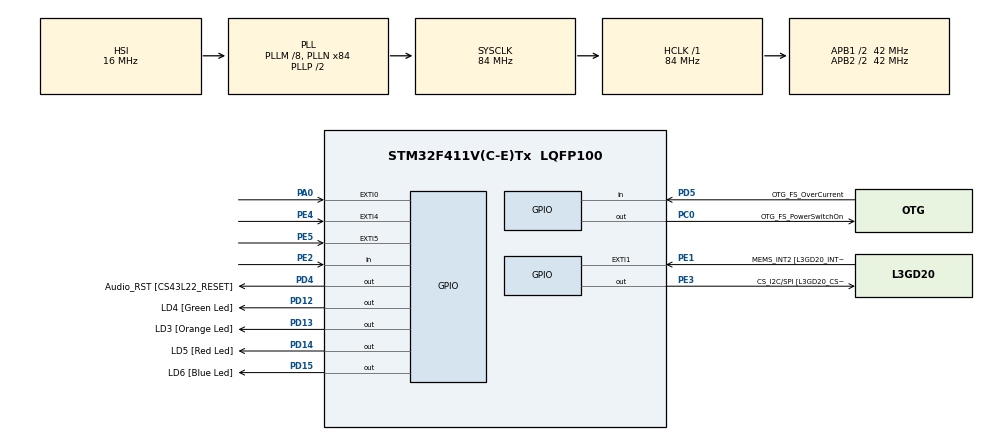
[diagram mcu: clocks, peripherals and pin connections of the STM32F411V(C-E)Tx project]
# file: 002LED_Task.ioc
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Mcu.Family=STM32F4
Mcu.Name=STM32F411V(C-E)Tx
Mcu.Package=LQFP100
NVIC.PriorityGroup=NVIC_PRIORITYGROUP_4
NVIC.TIM1_UP_TIM10_IRQn=true\:0\:0\:false\:false\:true\:false\:true\:true
NVIC.TimeBase=TIM1_UP_TIM10_IRQn
NVIC.TimeBaseIP=TIM1
PA0-WKUP.GPIO_ModeDefaultEXTI=GPIO_MODE_EVT_RISING
PA0-WKUP.Signal=GPXTI0
PA10.GPIO_Label=OTG_FS_ID
PA10.Signal=USB_OTG_FS_ID
PA11.GPIO_Label=OTG_FS_DM
PA11.Signal=USB_OTG_FS_DM
PA12.GPIO_Label=OTG_FS_DP
PA12.Signal=USB_OTG_FS_DP
PA13.GPIO_Label=SWDIO
PA13.Signal=SYS_JTMS-SWDIO
PA14.GPIO_Label=SWCLK
PA14.Signal=SYS_JTCK-SWCLK
PA4.GPIO_Label=I2S3_WS [CS43L22_LRCK]
PA4.GPIO_Mode=GPIO_MODE_AF_PP
PA4.GPIO_PuPd=GPIO_NOPULL
PA4.GPIO_Speed=GPIO_SPEED_FREQ_LOW
PA4.Signal=I2S3_WS
PA5.GPIO_Label=SPI1_SCK [L3GD20_SC/SPC]
PA5.Signal=SPI1_SCK
PA6.GPIO_Label=SPI1_MISO [L3GD20_AS0/SDO]
PA6.Signal=SPI1_MISO
PA7.GPIO_Label=SPI1_MOSI [L3GD20_SDA/SDI/SDO]
PA7.Signal=SPI1_MOSI
PA9.GPIO_Label=VBUS_FS
PA9.Signal=USB_OTG_FS_VBUS
PB10.GPIO_Label=CLK_IN [MP45DT02_CLK]
PB10.Signal=I2S2_CK
PB12.Signal=I2S2_WS
PB3.GPIO_Label=SWO
PB3.Signal=SYS_JTDO-SWO
PB6.GPIO_Label=Audio_SCL [CS43L22_SCL]
PB6.GPIO_Mode=GPIO_MODE_AF_OD
PB6.GPIO_PuPd=GPIO_NOPULL
PB6.GPIO_Speed=GPIO_SPEED_FREQ_LOW
PB6.Signal=I2C1_SCL
PB9.GPIO_Label=Audio_SDA [CS43L22_SDA]
PB9.GPIO_Mode=GPIO_MODE_AF_OD
PB9.GPIO_PuPd=GPIO_NOPULL
PB9.GPIO_Speed=GPIO_SPEED_FREQ_LOW
PB9.Signal=I2C1_SDA
PC0.GPIO_Label=OTG_FS_PowerSwitchOn
PC0.PinState=GPIO_PIN_SET
PC0.Signal=GPIO_Output
PC10.GPIO_Label=I2S3_SCK [CS43L22_SCLK]
PC10.GPIO_Mode=GPIO_MODE_AF_PP
PC10.GPIO_PuPd=GPIO_NOPULL
PC10.GPIO_Speed=GPIO_SPEED_FREQ_LOW
PC10.Signal=I2S3_CK
PC12.GPIO_Label=I2S3_SD [CS43L22_SDIN]
PC12.GPIO_Mode=GPIO_MODE_AF_PP
PC12.GPIO_PuPd=GPIO_NOPULL
PC12.GPIO_Speed=GPIO_SPEED_FREQ_LOW
PC12.Signal=I2S3_SD
PC14-OSC32_IN.GPIO_Label=PC14-OSC32_IN
PC14-OSC32_IN.Signal=RCC_OSC32_IN
PC15-OSC32_OUT.GPIO_Label=PC15-OSC32_OUT
PC15-OSC32_OUT.Signal=RCC_OSC32_OUT
PC3.GPIO_Label=PDM_OUT [MP45DT02_DOUT]
PC3.Signal=I2S2_SD
PC7.GPIO_Label=I2S3_MCK [CS43L22_MCLK]
PC7.GPIO_Mode=GPIO_MODE_AF_PP
PC7.GPIO_PuPd=GPIO_NOPULL
PC7.GPIO_Speed=GPIO_SPEED_FREQ_LOW
PC7.Signal=I2S3_MCK
PD12.GPIO_Label=LD4 [Green Led]
PD12.GPIO_PuPd=GPIO_NOPULL
PD12.GPIO_Speed=GPIO_SPEED_FREQ_LOW
PD12.Signal=GPIO_Output
PD13.GPIO_Label=LD3 [Orange Led]
PD13.GPIO_PuPd=GPIO_NOPULL
PD13.GPIO_Speed=GPIO_SPEED_FREQ_LOW
PD13.Signal=GPIO_Output
PD14.GPIO_Label=LD5 [Red Led]
PD14.GPIO_PuPd=GPIO_NOPULL
PD14.GPIO_Speed=GPIO_SPEED_FREQ_LOW
PD14.Signal=GPIO_Output
PD15.GPIO_Label=LD6 [Blue Led]
PD15.GPIO_PuPd=GPIO_NOPULL
PD15.GPIO_Speed=GPIO_SPEED_FREQ_LOW
PD15.Signal=GPIO_Output
PD4.GPIO_Label=Audio_RST [CS43L22_RESET]
PD4.Signal=GPIO_Output
PD5.GPIO_Label=OTG_FS_OverCurrent
PD5.Signal=GPIO_Input
PE1.GPIO_Label=MEMS_INT2 [L3GD20_INT2]
PE1.GPIO_ModeDefaultEXTI=GPIO_MODE_EVT_RISING
PE1.Signal=GPXTI1
PE2.Signal=GPIO_Input
PE3.GPIO_Label=CS_I2C/SPI [L3GD20_CS_I2C/SPI]
PE3.Signal=GPIO_Output
PE4.GPIO_ModeDefaultEXTI=GPIO_MODE_EVT_RISING
PE4.Signal=GPXTI4
PE5.GPIO_ModeDefaultEXTI=GPIO_MODE_EVT_RISING
PE5.Signal=GPXTI5
PH0\ -\ OSC_IN.GPIO_Label=PH0-OSC_IN
PH0\ -\ OSC_IN.Signal=RCC_OSC_IN
PH1\ -\ OSC_OUT.GPIO_Label=PH1-OSC_OUT
PH1\ -\ OSC_OUT.Signal=RCC_OSC_OUT
ProjectManager.HeapSize=0x200
ProjectManager.StackSize=0x400
ProjectManager.TargetToolchain=STM32CubeIDE
RCC.48MHZClocksFreq_Value=21000000
RCC.AHBFreq_Value=84000000
RCC.APB1CLKDivider=RCC_HCLK_DIV2
RCC.APB1Freq_Value=42000000
RCC.APB1TimFreq_Value=84000000
RCC.APB2CLKDivider=RCC_HCLK_DIV2
RCC.APB2Freq_Value=42000000
RCC.APB2TimFreq_Value=84000000
RCC.CortexFreq_Value=84000000
RCC.HCLKFreq_Value=84000000
RCC.HSE_VALUE=8000000
RCC.HSI_VALUE=16000000
RCC.LSE_VALUE=32768
RCC.PLLI2SM=5
RCC.PLLI2SN=200
RCC.PLLM=8
RCC.PLLN=84
RCC.PLLQ=8
RCC.SYSCLKFreq_VALUE=84000000
RCC.SYSCLKSource=RCC_SYSCLKSOURCE_PLLCLK
RCC.VCOOutputFreq_Value=168000000
VP_SYS_VS_tim1.Mode=TIM1
board=STM32F411E-DISCO

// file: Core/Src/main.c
/* USER CODE BEGIN Header */
/**
  ******************************************************************************
  * @file           : main.c
  * @brief          : Main program body
  ******************************************************************************
  * @attention
  *
  * Copyright (c) 2025 STMicroelectronics.
  * All rights reserved.
  *
  * This software is licensed under terms that can be found in the LICENSE file
  * in the root directory of this software component.
  * If no LICENSE file comes with this software, it is provided AS-IS.
  *
  ******************************************************************************
  */
/* USER CODE END Header */
#include "main.h"

/* USER CODE BEGIN Includes */
#include "C:\workspace\MasteringFreeRTOS\ThirdParty\FreeRTOS\include\FreeRTOS.h"
#include "C:\workspace\MasteringFreeRTOS\ThirdParty\FreeRTOS\include\task.h"
#include <stdio.h>
/* USER CODE END Includes */

/* USER CODE BEGIN PV */

#define DWT_CTRL    (*(volatile uint32_t*)0xE0001000)

/* USER CODE END PV */

void SystemClock_Config(void);
static void MX_GPIO_Init(void);
/* USER CODE BEGIN PFP */
//static void task1_handler(void* parameters );
//static void task2_handler(void* parameters );
//static void task3_handler(void* parameters );

static void led_green_handler(void* parameters);
static void led_orange_handler(void* parameters);
static void led_red_handler(void* parameters);

extern void SEGGER_UART_init(uint32_t);

/* USER CODE END PFP */

int main(void)
{
  /* USER CODE BEGIN 1 */
	TaskHandle_t task1_handle;
	TaskHandle_t task2_handle;
	TaskHandle_t task3_handle;
	BaseType_t status;
  /* USER CODE END 1 */

  /* MCU Configuration--------------------------------------------------------*/

  /* Reset of all peripherals, Initializes the Flash interface and the Systick. */
  HAL_Init();

  /* Configure the system clock */
  SystemClock_Config();

  /* Initialize all configured peripherals */
  MX_GPIO_Init();
  /* USER CODE BEGIN 2 */

  SEGGER_UART_init(500000);

  //CYCLCNT enable
  DWT_CTRL |= ( 1 << 0);
  status = xTaskCreate( led_green_handler,
                        "LED_green_task",
                        200,
                        NULL,
                        2,
						&task1_handle
                        );
  configASSERT(status == pdPASS);
  status = xTaskCreate( led_red_handler,
                        "LED_red_task",
                        200,
						NULL,
                        2,
  						&task2_handle
                        );
  configASSERT(status = pdPASS);

  status = xTaskCreate( led_orange_handler,
                        "LED_orange_task",
                        200,
						NULL,
                        2,
  						&task3_handle
                        );
  configASSERT(status == pdPASS);

  //start the freeRTOS scheduler
  vTaskStartScheduler();
  /* USER CODE END 2 */

  /* Infinite loop */
  while (1)
  {

  }
}

void SystemClock_Config(void)
{
  RCC_OscInitTypeDef RCC_OscInitStruct = {0};
  RCC_ClkInitTypeDef RCC_ClkInitStruct = {0};

  /** Configure the main internal regulator output voltage
  */
  __HAL_RCC_PWR_CLK_ENABLE();
  __HAL_PWR_VOLTAGESCALING_CONFIG(PWR_REGULATOR_VOLTAGE_SCALE1);

  /** Initializes the RCC Oscillators according to the specified parameters
  * in the RCC_OscInitTypeDef structure.
  */
  RCC_OscInitStruct.OscillatorType = RCC_OSCILLATORTYPE_HSI;
  RCC_OscInitStruct.HSIState = RCC_HSI_ON;
  RCC_OscInitStruct.HSICalibrationValue = RCC_HSICALIBRATION_DEFAULT;
  RCC_OscInitStruct.PLL.PLLState = RCC_PLL_ON;
  RCC_OscInitStruct.PLL.PLLSource = RCC_PLLSOURCE_HSI;
  RCC_OscInitStruct.PLL.PLLM = 8;
  RCC_OscInitStruct.PLL.PLLN = 84;
  RCC_OscInitStruct.PLL.PLLP = RCC_PLLP_DIV2;
  RCC_OscInitStruct.PLL.PLLQ = 8;
  if (HAL_RCC_OscConfig(&RCC_OscInitStruct) != HAL_OK)
  {
    Error_Handler();
  }

  /** Initializes the CPU, AHB and APB buses clocks
  */
  RCC_ClkInitStruct.ClockType = RCC_CLOCKTYPE_HCLK|RCC_CLOCKTYPE_SYSCLK
                              |RCC_CLOCKTYPE_PCLK1|RCC_CLOCKTYPE_PCLK2;
  RCC_ClkInitStruct.SYSCLKSource = RCC_SYSCLKSOURCE_PLLCLK;
  RCC_ClkInitStruct.AHBCLKDivider = RCC_SYSCLK_DIV1;
  RCC_ClkInitStruct.APB1CLKDivider = RCC_HCLK_DIV2;
  RCC_ClkInitStruct.APB2CLKDivider = RCC_HCLK_DIV2;

  if (HAL_RCC_ClockConfig(&RCC_ClkInitStruct, FLASH_LATENCY_2) != HAL_OK)
  {
    Error_Handler();
  }
}

static void MX_GPIO_Init(void)
{
  GPIO_InitTypeDef GPIO_InitStruct = {0};

  /* GPIO Ports Clock Enable */
  __HAL_RCC_GPIOE_CLK_ENABLE();
  __HAL_RCC_GPIOC_CLK_ENABLE();
  __HAL_RCC_GPIOH_CLK_ENABLE();
  __HAL_RCC_GPIOA_CLK_ENABLE();
  __HAL_RCC_GPIOB_CLK_ENABLE();
  __HAL_RCC_GPIOD_CLK_ENABLE();

  /*Configure GPIO pin Output Level */
  HAL_GPIO_WritePin(CS_I2C_SPI_GPIO_Port, CS_I2C_SPI_Pin, GPIO_PIN_RESET);

  /*Configure GPIO pin Output Level */
  HAL_GPIO_WritePin(OTG_FS_PowerSwitchOn_GPIO_Port, OTG_FS_PowerSwitchOn_Pin, GPIO_PIN_SET);

  /*Configure GPIO pin Output Level */
  HAL_GPIO_WritePin(GPIOD, LD4_Pin|LD3_Pin|LD5_Pin|LD6_Pin
                          |Audio_RST_Pin, GPIO_PIN_RESET);

  /*Configure GPIO pin : PE2 */
  GPIO_InitStruct.Pin = GPIO_PIN_2;
  GPIO_InitStruct.Mode = GPIO_MODE_INPUT;
  GPIO_InitStruct.Pull = GPIO_NOPULL;
  HAL_GPIO_Init(GPIOE, &GPIO_InitStruct);

  /*Configure GPIO pin : CS_I2C_SPI_Pin */
  GPIO_InitStruct.Pin = CS_I2C_SPI_Pin;
  GPIO_InitStruct.Mode = GPIO_MODE_OUTPUT_PP;
  GPIO_InitStruct.Pull = GPIO_NOPULL;
  GPIO_InitStruct.Speed = GPIO_SPEED_FREQ_LOW;
  HAL_GPIO_Init(CS_I2C_SPI_GPIO_Port, &GPIO_InitStruct);

  /*Configure GPIO pins : PE4 PE5 MEMS_INT2_Pin */
  GPIO_InitStruct.Pin = GPIO_PIN_4|GPIO_PIN_5|MEMS_INT2_Pin;
  GPIO_InitStruct.Mode = GPIO_MODE_EVT_RISING;
  GPIO_InitStruct.Pull = GPIO_NOPULL;
  HAL_GPIO_Init(GPIOE, &GPIO_InitStruct);

  /*Configure GPIO pin : OTG_FS_PowerSwitchOn_Pin */
  GPIO_InitStruct.Pin = OTG_FS_PowerSwitchOn_Pin;
  GPIO_InitStruct.Mode = GPIO_MODE_OUTPUT_PP;
  GPIO_InitStruct.Pull = GPIO_NOPULL;
  GPIO_InitStruct.Speed = GPIO_SPEED_FREQ_LOW;
  HAL_GPIO_Init(OTG_FS_PowerSwitchOn_GPIO_Port, &GPIO_InitStruct);

  /*Configure GPIO pin : PDM_OUT_Pin */
  GPIO_InitStruct.Pin = PDM_OUT_Pin;
  GPIO_InitStruct.Mode = GPIO_MODE_AF_PP;
  GPIO_InitStruct.Pull = GPIO_NOPULL;
  GPIO_InitStruct.Speed = GPIO_SPEED_FREQ_LOW;
  GPIO_InitStruct.Alternate = GPIO_AF5_SPI2;
  HAL_GPIO_Init(PDM_OUT_GPIO_Port, &GPIO_InitStruct);

  /*Configure GPIO pin : PA0 */
  GPIO_InitStruct.Pin = GPIO_PIN_0;
  GPIO_InitStruct.Mode = GPIO_MODE_EVT_RISING;
  GPIO_InitStruct.Pull = GPIO_NOPULL;
  HAL_GPIO_Init(GPIOA, &GPIO_InitStruct);

  /*Configure GPIO pin : I2S3_WS_Pin */
  GPIO_InitStruct.Pin = I2S3_WS_Pin;
  GPIO_InitStruct.Mode = GPIO_MODE_AF_PP;
  GPIO_InitStruct.Pull = GPIO_NOPULL;
  GPIO_InitStruct.Speed = GPIO_SPEED_FREQ_LOW;
  GPIO_InitStruct.Alternate = GPIO_AF6_SPI3;
  HAL_GPIO_Init(I2S3_WS_GPIO_Port, &GPIO_InitStruct);

  /*Configure GPIO pins : SPI1_SCK_Pin SPI1_MISO_Pin SPI1_MOSI_Pin */
  GPIO_InitStruct.Pin = SPI1_SCK_Pin|SPI1_MISO_Pin|SPI1_MOSI_Pin;
  GPIO_InitStruct.Mode = GPIO_MODE_AF_PP;
  GPIO_InitStruct.Pull = GPIO_NOPULL;
  GPIO_InitStruct.Speed = GPIO_SPEED_FREQ_VERY_HIGH;
  GPIO_InitStruct.Alternate = GPIO_AF5_SPI1;
  HAL_GPIO_Init(GPIOA, &GPIO_InitStruct);

  /*Configure GPIO pins : CLK_IN_Pin PB12 */
  GPIO_InitStruct.Pin = CLK_IN_Pin|GPIO_PIN_12;
  GPIO_InitStruct.Mode = GPIO_MODE_AF_PP;
  GPIO_InitStruct.Pull = GPIO_NOPULL;
  GPIO_InitStruct.Speed = GPIO_SPEED_FREQ_LOW;
  GPIO_InitStruct.Alternate = GPIO_AF5_SPI2;
  HAL_GPIO_Init(GPIOB, &GPIO_InitStruct);

  /*Configure GPIO pins : LD4_Pin LD3_Pin LD5_Pin LD6_Pin
                           Audio_RST_Pin */
  GPIO_InitStruct.Pin = LD4_Pin|LD3_Pin|LD5_Pin|LD6_Pin
                          |Audio_RST_Pin;
  GPIO_InitStruct.Mode = GPIO_MODE_OUTPUT_PP;
  GPIO_InitStruct.Pull = GPIO_NOPULL;
  GPIO_InitStruct.Speed = GPIO_SPEED_FREQ_LOW;
  HAL_GPIO_Init(GPIOD, &GPIO_InitStruct);

  /*Configure GPIO pins : I2S3_MCK_Pin I2S3_SCK_Pin I2S3_SD_Pin */
  GPIO_InitStruct.Pin = I2S3_MCK_Pin|I2S3_SCK_Pin|I2S3_SD_Pin;
  GPIO_InitStruct.Mode = GPIO_MODE_AF_PP;
  GPIO_InitStruct.Pull = GPIO_NOPULL;
  GPIO_InitStruct.Speed = GPIO_SPEED_FREQ_LOW;
  GPIO_InitStruct.Alternate = GPIO_AF6_SPI3;
  HAL_GPIO_Init(GPIOC, &GPIO_InitStruct);

  /*Configure GPIO pin : VBUS_FS_Pin */
  GPIO_InitStruct.Pin = VBUS_FS_Pin;
  GPIO_InitStruct.Mode = GPIO_MODE_INPUT;
  GPIO_InitStruct.Pull = GPIO_NOPULL;
  HAL_GPIO_Init(VBUS_FS_GPIO_Port, &GPIO_InitStruct);

  /*Configure GPIO pins : OTG_FS_ID_Pin OTG_FS_DM_Pin OTG_FS_DP_Pin */
  GPIO_InitStruct.Pin = OTG_FS_ID_Pin|OTG_FS_DM_Pin|OTG_FS_DP_Pin;
  GPIO_InitStruct.Mode = GPIO_MODE_AF_PP;
  GPIO_InitStruct.Pull = GPIO_NOPULL;
  GPIO_InitStruct.Speed = GPIO_SPEED_FREQ_VERY_HIGH;
  GPIO_InitStruct.Alternate = GPIO_AF10_OTG_FS;
  HAL_GPIO_Init(GPIOA, &GPIO_InitStruct);

  /*Configure GPIO pin : OTG_FS_OverCurrent_Pin */
  GPIO_InitStruct.Pin = OTG_FS_OverCurrent_Pin;
  GPIO_InitStruct.Mode = GPIO_MODE_INPUT;
  GPIO_InitStruct.Pull = GPIO_NOPULL;
  HAL_GPIO_Init(OTG_FS_OverCurrent_GPIO_Port, &GPIO_InitStruct);

  /*Configure GPIO pins : Audio_SCL_Pin Audio_SDA_Pin */
  GPIO_InitStruct.Pin = Audio_SCL_Pin|Audio_SDA_Pin;
  GPIO_InitStruct.Mode = GPIO_MODE_AF_OD;
  GPIO_InitStruct.Pull = GPIO_NOPULL;
  GPIO_InitStruct.Speed = GPIO_SPEED_FREQ_LOW;
  GPIO_InitStruct.Alternate = GPIO_AF4_I2C1;
  HAL_GPIO_Init(GPIOB, &GPIO_InitStruct);

}

/* USER CODE BEGIN 4 */
static void led_green_handler(void* parameters ){
	//char msg[100];
	while(1){

		HAL_GPIO_TogglePin(GPIOD, LED_GREEN_PIN);
		HAL_Delay(1000);
		//snprintf(msg,100,"%s\n", (char*)parameters);
		//SEGGER_SYSVIEW_PrintfTarget(msg);
		//taskYIELD();
	}
}
static void led_red_handler(void* parameters ){
	//char msg[100];
	while(1){

		HAL_GPIO_TogglePin(GPIOD, LED_RED_PIN);
		HAL_Delay(800);

		//SEGGER_SYSVIEW_PrintfTarget(msg);

	}
}
static void led_orange_handler(void* parameters ){
	//char msg[100];
	while(1){

		HAL_GPIO_TogglePin(GPIOD, LED_ORANGE_PIN);
		HAL_Delay(400);

		//SEGGER_SYSVIEW_PrintfTarget(msg);

	}
}
/* USER CODE END 4 */

void HAL_TIM_PeriodElapsedCallback(TIM_HandleTypeDef *htim)
{
  if (htim->Instance == TIM1) {
    HAL_IncTick();
  }
}

void Error_Handler(void)
{
}
